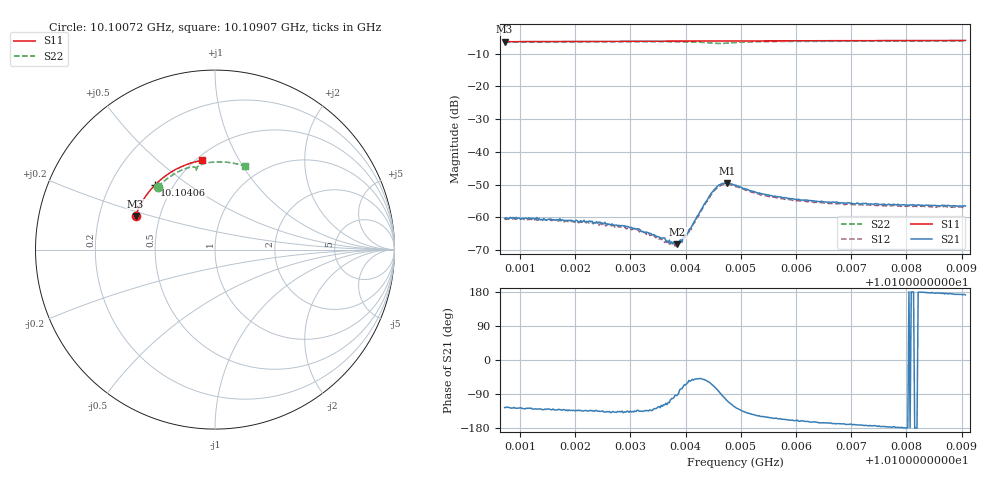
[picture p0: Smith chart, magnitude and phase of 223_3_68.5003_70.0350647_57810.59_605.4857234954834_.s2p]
#  HZ  S  RI  R  50.00
! Rohde & Schwarz Vector Network Analyzer
! Rohde-Schwarz,ZNB20-2Port,1311601062101988,3.16
! Created: UTC 3/20/2024, 4:58:38 PM
! freq[Hz]  re:S11  im:S11  re:S21  im:S21  re:S12  im:S12  re:S22  im:S22
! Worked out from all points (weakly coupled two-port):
!   401 points, 10.10072 GHz to 10.10907 GHz, reference 50 ohm
!   highest |S21| = -49.51 dB at 10.10475 GHz (marker M1); lowest = -68.3 dB at 10.10385 GHz (marker M2)
!   lowest |S11| = -6.4 dB at 10.10072 GHz (marker M3), VSWR 2.85, Z = 18.2 + j8.86 ohm
!   |S11| at or under -10 dB: nowhere
!   |S22| runs from -6.9 to -6.1 dB; largest |S21 - S12| = 0.00034
!   S11 on the Smith chart (normalised r, x): 10.10072 GHz: 0.36, +0.18; 10.10406 GHz: 0.40, +0.37; 10.10907 GHz: 0.54, +0.71
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1.0100723e10  -0.4427 0.1876  -0.000556 -0.000782  -0.00049 -0.000813  -0.3185 0.3505
1.0101411e10  -0.4266 0.2265  -0.000593 -0.000674  -0.000549 -0.000737  -0.2853 0.3804
1.0102121e10  -0.4068 0.2648  -0.000604 -0.000616  -0.000517 -0.000662  -0.2484 0.4082
1.0102643e10  -0.3899 0.2918  -0.000573 -0.000497  -0.000491 -0.000548  -0.2192 0.4259
1.0102893e10  -0.3814 0.3044  -0.000538 -0.000509  -0.000477 -0.000537  -0.2045 0.4339
1.0103102e10  -0.3739 0.3145  -0.000473 -0.000457  -0.000435 -0.000492  -0.192 0.4401
1.0103519e10  -0.3579 0.3342  -0.000269 -0.00042  -0.000249 -0.00039  -0.1655 0.451
1.0103728e10  -0.3496 0.3437  -0.000103 -0.00039  -8.63e-05 -0.000384  -0.1511 0.4557
1.0103853e10  -0.3445 0.3494  -1.68e-05 -0.000386  3.6e-05 -0.00039  -0.1421 0.4577
1.0103895e10  -0.3428 0.3512  8.73e-05 -0.000434  8.83e-05 -0.000391  -0.1391 0.4583
1.0103978e10  -0.3392 0.3548  0.000215 -0.000463  0.000228 -0.000423  -0.1327 0.4594
1.0104062e10  -0.3358 0.3586  0.00038 -0.000522  0.00036 -0.000466  -0.126 0.4601
1.0104333e10  -0.324 0.3701  0.000976 -0.00121  0.00101 -0.00107  -0.104 0.4561
1.01045e10  -0.3166 0.377  0.000949 -0.00233  0.00114 -0.00216  -0.0959 0.4463
1.0104625e10  -0.311 0.382  0.000177 -0.00315  0.000406 -0.00297  -0.099 0.4406
1.010475e10  -0.3054 0.3869  -0.000986 -0.0032  -0.000653 -0.00312  -0.104 0.4444
1.0104896e10  -0.2986 0.3926  -0.00173 -0.00256  -0.00149 -0.00261  -0.1025 0.4551
1.0105397e10  -0.2748 0.4114  -0.00195 -0.00117  -0.00175 -0.00128  -0.0703 0.4766
1.0105856e10  -0.252 0.4271  -0.00178 -0.000723  -0.00166 -0.000859  -0.0388 0.4842
1.0106295e10  -0.2291 0.4409  -0.00171 -0.000508  -0.00161 -0.000633  -0.00941 0.4876
1.0107693e10  -0.1522 0.476  -0.00156 -0.000102  -0.00148 -0.000228  0.0816 0.4848
1.010907e10  -0.0718 0.497  -0.00147 0.000216  -0.00143 4.06e-05  0.1674 0.4654
